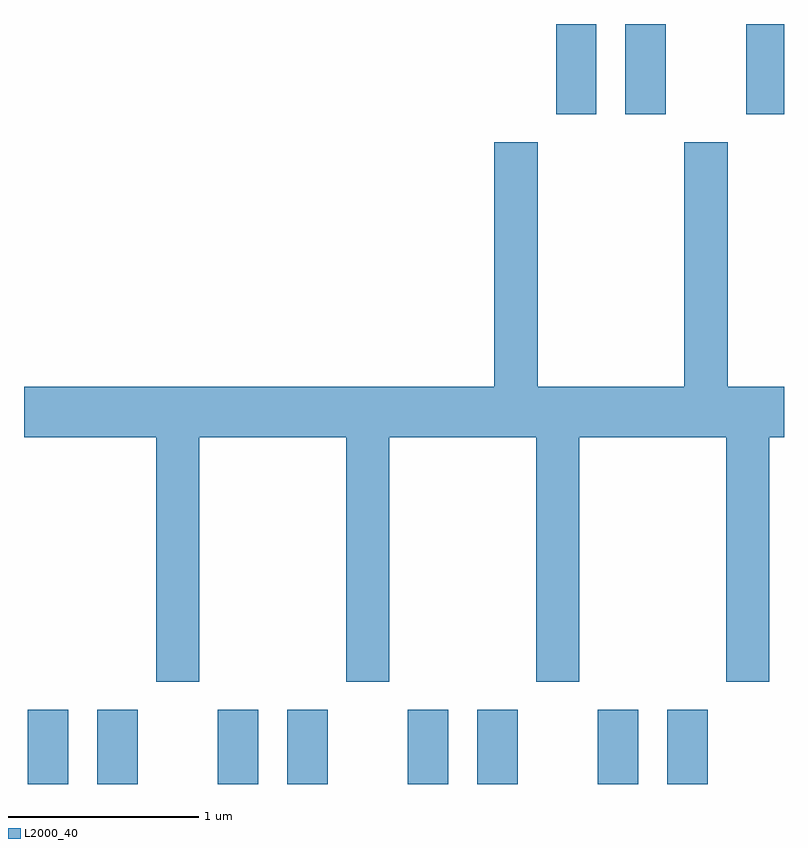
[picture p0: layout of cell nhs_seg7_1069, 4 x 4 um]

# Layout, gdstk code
import gdstk
lib = gdstk.Library(unit=1e-6, precision=1e-09)
def R(c, l, rs):  # rectangles x0, y0, x1, y1
    for r in rs: c.add(gdstk.rectangle(r[:2], r[2:], *l))
def P(c, l, *ps):  # polygons
    for p in ps: c.add(gdstk.Polygon(p, *l))
L2000_40 = (2000, 40)

nhs_seg7_1069 = lib.new_cell('nhs_seg7_1069')
R(nhs_seg7_1069, L2000_40, [(217.631,1730.252,217.844,1730.644), (217.996,1730.252,218.209,1730.644), (218.631,1730.252,218.844,1730.644), (218.996,1730.252,219.209,1730.644), (219.631,1730.252,219.844,1730.644), (219.996,1730.252,220.209,1730.644), (220.631,1730.252,220.844,1730.644), (220.996,1730.252,221.209,1730.644), (220.411,1733.776,220.624,1734.252), (220.776,1733.776,220.989,1734.252), (221.411,1733.776,221.611,1734.252)])
P(nhs_seg7_1069, L2000_40, [(218.534,1732.076),(219.306,1732.076),(219.306,1730.791),(219.534,1730.791),(219.534,1732.076),(220.306,1732.076),(220.306,1730.791),(220.534,1730.791),(220.534,1732.076),(221.306,1732.076),(221.306,1730.791),(221.534,1730.791),(221.534,1732.076),(221.611,1732.076),(221.611,1732.344),(221.314,1732.344),(221.314,1733.629),(221.086,1733.629),(221.086,1732.344),(220.314,1732.344),(220.314,1733.629),(220.086,1733.629),(220.086,1732.344),(217.611,1732.344),(217.611,1732.076),(218.306,1732.076),(218.306,1730.791),(218.534,1730.791)])

lib.write_gds('nhs_seg7_1069.gds')
